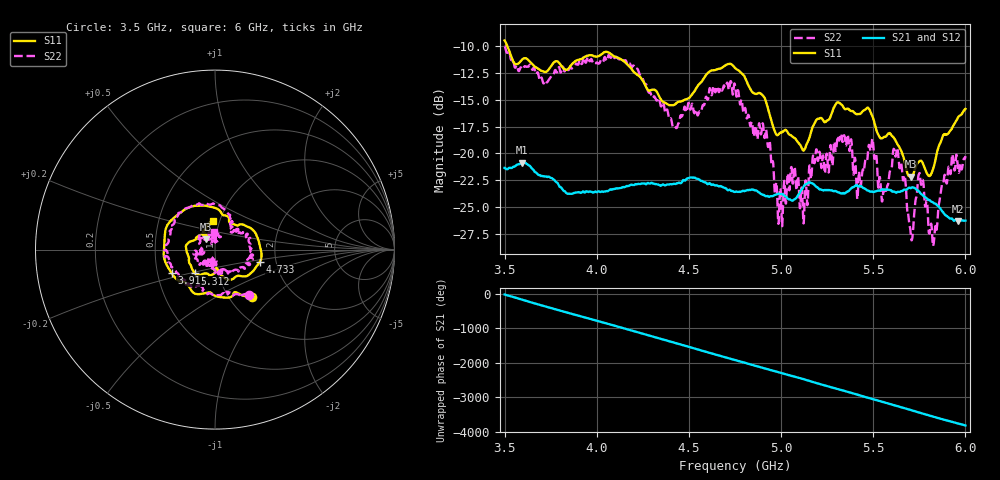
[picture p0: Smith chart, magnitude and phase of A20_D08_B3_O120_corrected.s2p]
! Created with skrf 1.9.0 (http://scikit-rf.org).
# Hz S RI R 50.0
!freq ReS11 ImS11 ReS21 ImS21 ReS12 ImS12 ReS22 ImS22
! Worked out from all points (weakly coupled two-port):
!   1601 points, 3.5 GHz to 6 GHz, reference 50 ohm
!   highest |S21| = -20.85 dB at 3.592 GHz (marker M1); lowest = -26.3 dB at 5.959 GHz (marker M2)
!   lowest |S11| = -22.2 dB at 5.706 GHz (marker M3), VSWR 1.17, Z = 44.8 + j5.2 ohm
!   |S11| at or under -10 dB: 3.516 GHz to end of sweep
!   |S22| runs from -28.7 to -10.0 dB; largest |S21 - S12| = 0.0011
!   S11 on the Smith chart (normalised r, x): 3.5 GHz: 1.27, -0.76; 3.911 GHz: 0.59, -0.17; 4.733 GHz: 1.65, -0.23; 5.312 GHz: 0.77, -0.21; 6 GHz: 0.93, +0.31
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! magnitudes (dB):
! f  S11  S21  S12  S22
! 3.5 GHz  -9.4  -21.3  -21.3  -10.0
! 3.592 GHz  -11.3  -20.8  -20.9  -12.1
! 3.911 GHz  -11.2  -23.7  -23.6  -11.3
! 3.917 GHz  -11.2  -23.7  -23.6  -11.6
! 4.334 GHz  -14.5  -22.9  -22.9  -14.8
! 4.425 GHz  -15.4  -22.9  -22.8  -17.5
! 4.733 GHz  -11.7  -23.5  -23.5  -13.8
! 4.75 GHz  -12.0  -23.6  -23.5  -13.6
! 4.911 GHz  -14.8  -23.9  -23.9  -18.6
! 4.995 GHz  -18.1  -23.8  -23.8  -23.2
! 5.167 GHz  -17.7  -22.8  -22.8  -21.5
! 5.312 GHz  -15.2  -23.6  -23.6  -18.7
! 5.42 GHz  -16.3  -23.1  -23.1  -22.2
! 5.487 GHz  -16.2  -23.6  -23.5  -19.6
! 5.584 GHz  -18.1  -23.4  -23.4  -22.4
! 5.625 GHz  -18.9  -23.7  -23.6  -20.0
! 5.706 GHz  -22.2  -23.2  -23.2  -28.0
! 5.753 GHz  -20.7  -23.6  -23.6  -22.0
! 5.831 GHz  -21.1  -24.7  -24.6  -27.8
! 5.88 GHz  -18.3  -25.5  -25.5  -22.7
! 5.959 GHz  -16.6  -26.3  -26.3  -21.3
! 6 GHz  -15.8  -26.3  -26.2  -20.2
